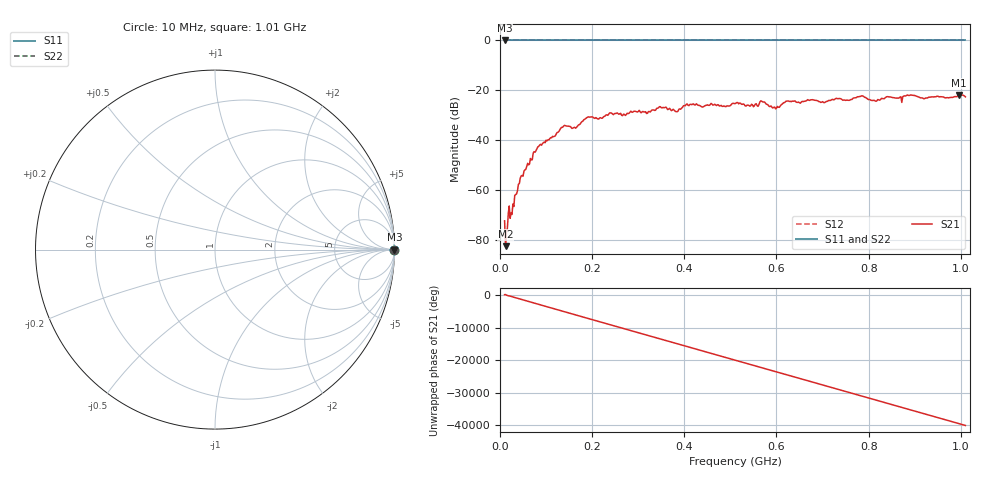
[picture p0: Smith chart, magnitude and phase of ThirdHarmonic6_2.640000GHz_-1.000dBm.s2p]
! 8/17/2025 5:57:39 AM
! C:\ANRITSUVNA\TEMP\TEMP.S2P
! CHANNEL.1
! TR.MEASUREMENT
! RAW.DATA
! RF.CORRECTION.OFF
! AVERAGING.OFF
! IF.BANDWIDTH: 5KHZ
! SWEEPTYPE:  FREQ.SWEEP(Linear)
! Reference Plane Port Info
! PORT:  PORT1  PORT2
! DISTANCE:  0  m  0  m
! TIME:  0  s  0  s
! PHASE.OFFSET:  0  deg.  0  deg.
! LOSS:  0  dB  0  dB
! REF.LOSS:  0  dB  0  dB
! REF.FREQ:  0  Hz  0  Hz
! Power Info
! POWER:  -20  dBm  -20  dBm
! EFF.POWER:  -20  dBm  -20  dBm
! SOURCE.ATTEN:  0  dB  0  dB
! TEST.ATTEN:  0  dB  0  dB
# GHZ S RI R 50.0
! FREQ.GHZ  S11RE  S11IM  S21RE  S21IM  S12RE  S12IM  S22RE  S22IM
!; PortSelection: Port_12
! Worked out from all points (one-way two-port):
!   501 points, 10 MHz to 1.01 GHz, reference 50 ohm
!   highest |S21| = -21.87 dB at 996 MHz (marker M1); lowest = -82.7 dB at 12 MHz (marker M2)
!   lowest |S11| = 0.0 dB at 10 MHz (marker M3)
!   |S11| at or under -10 dB: nowhere
!   |S22| runs from 0.0 to 0.0 dB; largest |S21 - S12| = 1.1
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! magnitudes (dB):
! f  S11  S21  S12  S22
! 10 MHz  0.0  -72.5  0.0  0.0
! 12 MHz  0.0  -82.7  0.0  0.0
! 26 MHz  0.0  -69.9  0.0  0.0
! 44 MHz  0.0  -55.3  0.0  0.0
! 76 MHz  0.0  -44.9  0.0  0.0
! 136 MHz  0.0  -34.9  0.0  0.0
! 162 MHz  0.0  -34.9  0.0  0.0
! 178 MHz  0.0  -32.6  0.0  0.0
! 192 MHz  0.0  -30.7  0.0  0.0
! 322 MHz  0.0  -28.6  0.0  0.0
! 344 MHz  0.0  -27.1  0.0  0.0
! 382 MHz  0.0  -28.6  0.0  0.0
! 408 MHz  0.0  -26.0  0.0  0.0
! 510 MHz  0.0  -25.4  0.0  0.0
! 570 MHz  0.0  -24.7  0.0  0.0
! 596 MHz  0.0  -26.8  0.0  0.0
! 622 MHz  0.0  -24.4  0.0  0.0
! 678 MHz  0.0  -23.8  0.0  0.0
! 814 MHz  0.0  -24.3  0.0  0.0
! 844 MHz  0.0  -22.7  0.0  0.0
! 996 MHz  0.0  -21.9  0.0  0.0
! 1.01 GHz  0.0  -22.7  0.0  0.0
